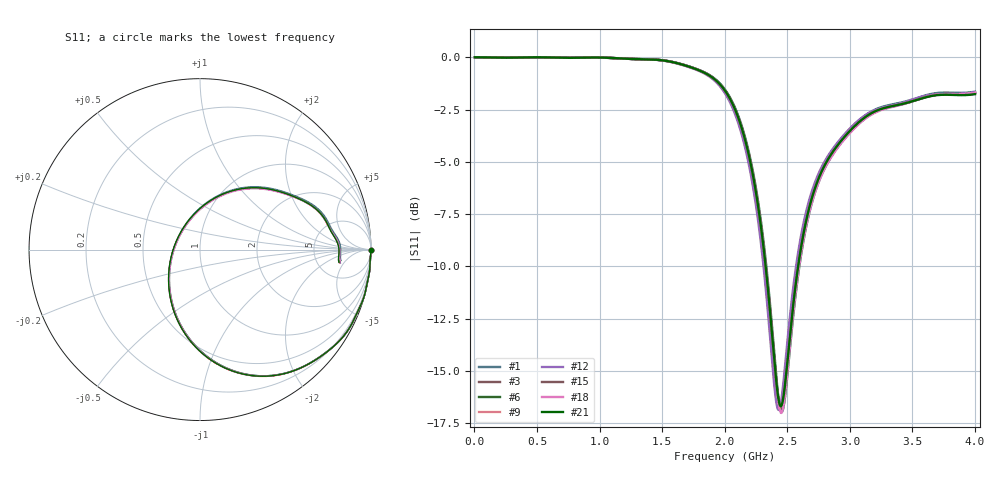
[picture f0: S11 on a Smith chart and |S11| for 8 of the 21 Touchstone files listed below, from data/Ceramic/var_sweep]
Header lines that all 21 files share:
! TOUCHSTONE file generated by CST MICROWAVE STUDIO
! Project name: ant1_ceramic_sweep_10porcent.cst
! Header version: 2018
! Port assignment regex: !\s*Touchstone port\s*([0-9]+)\s*=\s*(CST MWS port|CST DS port)\s*([0-9]+|Zmin|Zmax)\s*\(\"(.*)\"\)(\s*mode\s*([0-9]+))?.*
! Touchstone port assignment:
! Touchstone port 1 = CST MWS port 1 ("")
# GHz S DB R 50
Fixed: e = 0.035, h = 1.6, wl = 1.7
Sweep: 4 MHz to 4 GHz
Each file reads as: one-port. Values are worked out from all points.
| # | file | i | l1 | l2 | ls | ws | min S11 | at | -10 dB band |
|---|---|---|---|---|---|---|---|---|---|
| 1 | ant1_ceramic_var_sweep_01.s1p | 0.72 | 0.5 | 17 | 80 | 30 | -16.7 dB | 2.444 GHz | 255.6 MHz wide |
| 2 | ant1_ceramic_var_sweep_02.s1p | 0.792 | 0.5 | 17 | 80 | 30 | -16.8 dB | 2.448 GHz | 261.9 MHz wide |
| 3 | ant1_ceramic_var_sweep_03.s1p | 0.8 | 0.5 | 17 | 80 | 30 | -16.8 dB | 2.448 GHz | 262.6 MHz wide |
| 4 | ant1_ceramic_var_sweep_04.s1p | 0.808 | 0.5 | 17 | 80 | 30 | -16.8 dB | 2.448 GHz | 263.3 MHz wide |
| 5 | ant1_ceramic_var_sweep_05.s1p | 0.88 | 0.5 | 17 | 80 | 30 | -17.0 dB | 2.452 GHz | 269.6 MHz wide |
| 6 | ant1_ceramic_var_sweep_06.s1p | 0.8 | 0.45 | 17 | 80 | 30 | -17.0 dB | 2.456 GHz | 263.6 MHz wide |
| 7 | ant1_ceramic_var_sweep_07.s1p | 0.8 | 0.495 | 17 | 80 | 30 | -16.8 dB | 2.452 GHz | 262.7 MHz wide |
| 8 | ant1_ceramic_var_sweep_08.s1p | 0.8 | 0.505 | 17 | 80 | 30 | -16.8 dB | 2.448 GHz | 262.4 MHz wide |
| 9 | ant1_ceramic_var_sweep_09.s1p | 0.8 | 0.55 | 17 | 80 | 30 | -16.7 dB | 2.444 GHz | 261.7 MHz wide |
| 10 | ant1_ceramic_var_sweep_010.s1p | 0.8 | 0.5 | 15.3 | 80 | 30 | -16.4 dB | 2.66 GHz | 290.3 MHz wide |
| 11 | ant1_ceramic_var_sweep_11.s1p | 0.8 | 0.5 | 16.83 | 80 | 30 | -16.8 dB | 2.468 GHz | 265.3 MHz wide |
| 12 | ant1_ceramic_var_sweep_12.s1p | 0.8 | 0.5 | 17.17 | 80 | 30 | -16.9 dB | 2.432 GHz | 259.7 MHz wide |
| 13 | ant1_ceramic_var_sweep_13.s1p | 0.8 | 0.5 | 18.7 | 80 | 30 | -17.1 dB | 2.272 GHz | 237.3 MHz wide |
| 14 | ant1_ceramic_var_sweep_14.s1p | 0.8 | 0.5 | 17 | 72 | 30 | -16.2 dB | 2.448 GHz | 253.2 MHz wide |
| 15 | ant1_ceramic_var_sweep_15.s1p | 0.8 | 0.5 | 17 | 79.2 | 30 | -16.8 dB | 2.448 GHz | 261.7 MHz wide |
| 16 | ant1_ceramic_var_sweep_16.s1p | 0.8 | 0.5 | 17 | 80.8 | 30 | -16.9 dB | 2.448 GHz | 263.4 MHz wide |
| 17 | ant1_ceramic_var_sweep_17.s1p | 0.8 | 0.5 | 17 | 88 | 30 | -17.3 dB | 2.452 GHz | 269.7 MHz wide |
| 18 | ant1_ceramic_var_sweep_18.s1p | 0.8 | 0.5 | 17 | 80 | 27 | -17.0 dB | 2.452 GHz | 265.6 MHz wide |
| 19 | ant1_ceramic_var_sweep_19.s1p | 0.8 | 0.5 | 17 | 80 | 29.7 | -16.9 dB | 2.448 GHz | 262.9 MHz wide |
| 20 | ant1_ceramic_var_sweep_20.s1p | 0.8 | 0.5 | 17 | 80 | 30.3 | -16.8 dB | 2.448 GHz | 262.3 MHz wide |
| 21 | ant1_ceramic_var_sweep_21.s1p | 0.8 | 0.5 | 17 | 80 | 33 | -16.7 dB | 2.448 GHz | 259.5 MHz wide |
